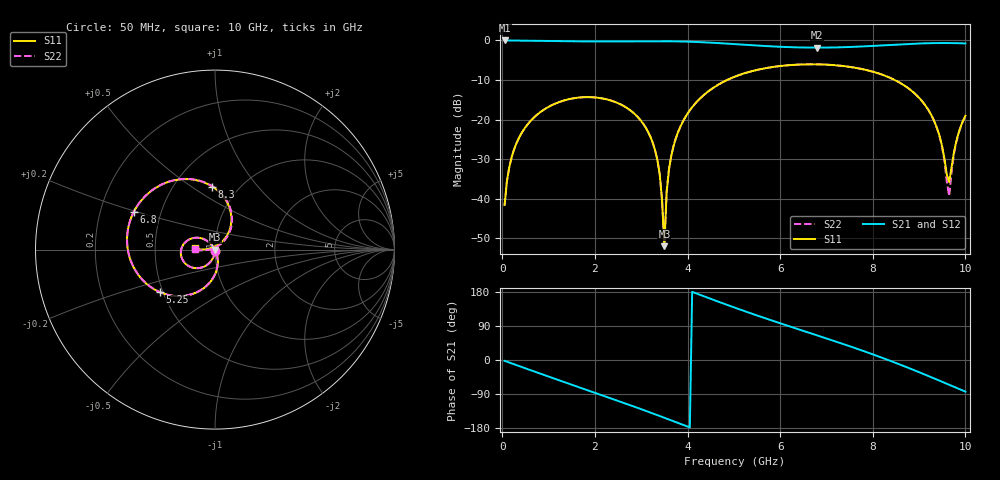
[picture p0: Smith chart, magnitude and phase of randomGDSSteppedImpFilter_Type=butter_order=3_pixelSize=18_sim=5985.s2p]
! freq	dB(S11)	phase(S11)	dB(S12)	phase(S12)
!  dB(S21)	phase(S21)	dB(S22)	phase(S22)
!S-par simulation data
#  GHz  S  DB  R 50
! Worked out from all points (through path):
!   200 points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, 50 MHz to 10 GHz, reference 50 ohm
!   highest |S21| = 0.00 dB at 50 MHz (marker M1); lowest = -1.8 dB at 6.8 GHz (marker M2)
!   group delay of S21, straight-line fit = 121 ps
!   lowest |S11| = -52.0 dB at 3.5 GHz (marker M3), VSWR 1.01, Z = 49.8 - j0.0651 ohm
!   |S11| at or under -10 dB: start of sweep to 4.855 GHz; 8.474 GHz to end of sweep
!   |S22| runs from -51.4 to -6.0 dB; largest |S21 - S12| = 0
!   S11 on the Smith chart (normalised r, x): 50 MHz: 1.00, -0.02; 5.25 GHz: 0.48, -0.27; 6.8 GHz: 0.35, +0.19; 8.3 GHz: 0.76, +0.61; 10 GHz: 0.80, +0.01
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0.05  -41.61 -92.0  -0.00 -2.2  -0.00 -2.2  -41.61 -92.0
0.2  -29.63 -99.1  -0.02 -8.9  -0.02 -8.9  -29.63 -99.1
0.5  -21.95 -112.5  -0.05 -22.0  -0.05 -22.0  -21.95 -112.5
1.75  -14.36 -166.6  -0.25 -75.7  -0.25 -75.7  -14.36 -166.5
2.9  -19.06 143.9  -0.21 -125.3  -0.21 -125.3  -19.06 144.1
3.2  -24.41 130.6  -0.19 -138.7  -0.19 -138.7  -24.41 131.1
3.4  -33.89 122.0  -0.19 -147.8  -0.19 -147.8  -33.88 123.6
3.5  -52.03 -164.9  -0.20 -152.4  -0.20 -152.4  -51.44 -152.1
3.55  -38.16 -66.5  -0.20 -154.7  -0.20 -154.7  -38.15 -69.4
3.6  -32.53 -68.3  -0.21 -157.0  -0.21 -157.0  -32.53 -69.8
3.8  -23.06 -77.1  -0.25 -166.3  -0.25 -166.3  -23.06 -77.7
5.05  -9.03 -133.6  -0.95 136.8  -0.95 136.8  -9.03 -133.8
5.25  -8.23 -142.2  -1.10 128.1  -1.10 128.1  -8.23 -142.4
6.7  -6.03 159.1  -1.81 68.9  -1.81 68.9  -6.03 158.9
6.8  -6.04 155.1  -1.82 64.9  -1.82 64.9  -6.04 154.9
8.3  -9.08 92.5  -1.18 1.4  -1.18 1.4  -9.08 91.9
8.35  -9.33 90.3  -1.15 -0.9  -1.15 -0.9  -9.33 89.6
9.3  -19.70 49.7  -0.68 -47.3  -0.68 -47.3  -19.74 46.8
9.5  -26.92 51.1  -0.65 -57.5  -0.65 -57.5  -27.18 44.2
9.65  -35.85 125.9  -0.66 -65.3  -0.66 -65.3  -39.31 131.3
9.8  -25.67 177.8  -0.69 -73.1  -0.69 -73.1  -25.95 -176.1
10  -19.02 176.7  -0.75 -83.5  -0.75 -83.5  -19.10 179.7
